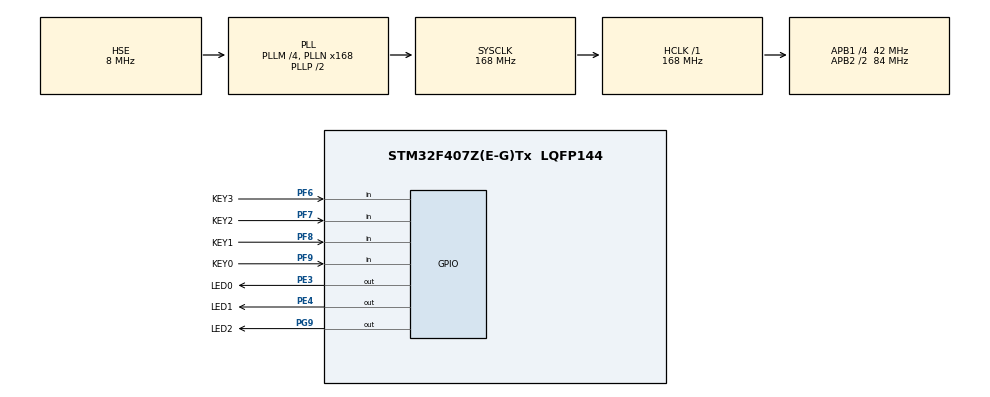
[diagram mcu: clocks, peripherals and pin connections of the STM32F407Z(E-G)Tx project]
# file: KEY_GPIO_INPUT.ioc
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Mcu.Family=STM32F4
Mcu.Name=STM32F407Z(E-G)Tx
Mcu.Package=LQFP144
NVIC.PriorityGroup=NVIC_PRIORITYGROUP_4
PA13.Mode=Serial_Wire
PA13.Signal=SYS_JTMS-SWDIO
PA14.Mode=Serial_Wire
PA14.Signal=SYS_JTCK-SWCLK
PC14-OSC32_IN.Mode=LSE-External-Oscillator
PC14-OSC32_IN.Signal=RCC_OSC32_IN
PC15-OSC32_OUT.Mode=LSE-External-Oscillator
PC15-OSC32_OUT.Signal=RCC_OSC32_OUT
PE3.GPIO_Label=LED0
PE3.GPIO_PuPd=GPIO_PULLUP
PE3.GPIO_Speed=GPIO_SPEED_FREQ_HIGH
PE3.Signal=GPIO_Output
PE4.GPIO_Label=LED1
PE4.GPIO_PuPd=GPIO_PULLUP
PE4.GPIO_Speed=GPIO_SPEED_FREQ_HIGH
PE4.Signal=GPIO_Output
PF6.GPIO_Label=KEY3
PF6.GPIO_PuPd=GPIO_PULLUP
PF6.Signal=GPIO_Input
PF7.GPIO_Label=KEY2
PF7.GPIO_PuPd=GPIO_PULLUP
PF7.Signal=GPIO_Input
PF8.GPIO_Label=KEY1
PF8.GPIO_PuPd=GPIO_PULLUP
PF8.Signal=GPIO_Input
PF9.GPIO_Label=KEY0
PF9.GPIO_PuPd=GPIO_PULLUP
PF9.Signal=GPIO_Input
PG9.GPIO_Label=LED2
PG9.GPIO_PuPd=GPIO_PULLUP
PG9.GPIO_Speed=GPIO_SPEED_FREQ_HIGH
PG9.Signal=GPIO_Output
PH0-OSC_IN.Mode=HSE-External-Oscillator
PH0-OSC_IN.Signal=RCC_OSC_IN
PH1-OSC_OUT.Mode=HSE-External-Oscillator
PH1-OSC_OUT.Signal=RCC_OSC_OUT
ProjectManager.HeapSize=0x200
ProjectManager.StackSize=0x400
ProjectManager.TargetToolchain=MDK-ARM V5
RCC.48MHZClocksFreq_Value=84000000
RCC.AHBFreq_Value=168000000
RCC.APB1CLKDivider=RCC_HCLK_DIV4
RCC.APB1Freq_Value=42000000
RCC.APB1TimFreq_Value=84000000
RCC.APB2CLKDivider=RCC_HCLK_DIV2
RCC.APB2Freq_Value=84000000
RCC.APB2TimFreq_Value=168000000
RCC.CortexFreq_Value=168000000
RCC.HCLKFreq_Value=168000000
RCC.HSE_VALUE=8000000
RCC.HSI_VALUE=16000000
RCC.PLLM=4
RCC.PLLN=168
RCC.PLLSourceVirtual=RCC_PLLSOURCE_HSE
RCC.SYSCLKFreq_VALUE=168000000
RCC.SYSCLKSource=RCC_SYSCLKSOURCE_PLLCLK
RCC.VCOOutputFreq_Value=336000000
board=custom

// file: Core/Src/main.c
/* USER CODE BEGIN Header */
/**
  ******************************************************************************
  * @file           : main.c
  * @brief          : Main program body
  ******************************************************************************
  * @attention
  *
  * Copyright (c) 2024 STMicroelectronics.
  * All rights reserved.
  *
  * This software is licensed under terms that can be found in the LICENSE file
  * in the root directory of this software component.
  * If no LICENSE file comes with this software, it is provided AS-IS.
  *
  ******************************************************************************
  */
/* USER CODE END Header */
#include "main.h"
#include "gpio.h"

void SystemClock_Config(void);

int main(void)
{

  /* MCU Configuration--------------------------------------------------------*/

  /* Reset of all peripherals, Initializes the Flash interface and the Systick. */
  HAL_Init();

  /* Configure the system clock */
  SystemClock_Config();

  /* Initialize all configured peripherals */
  MX_GPIO_Init();

  /* Infinite loop */
  while (1)
  {

    /* USER CODE BEGIN 3 */

    /*----------------------------KEY0每次按下翻转LED0的状态----------------------------*/
      if (HAL_GPIO_ReadPin(KEY0_GPIO_Port,KEY0_Pin) == GPIO_PIN_RESET)
      {
          HAL_Delay(20);  //软件消抖
          if (HAL_GPIO_ReadPin(KEY0_GPIO_Port,KEY0_Pin) == GPIO_PIN_RESET)
          {
              while (HAL_GPIO_ReadPin(KEY0_GPIO_Port,KEY0_Pin) == GPIO_PIN_RESET);  //抬手检测
              HAL_GPIO_TogglePin(LED0_GPIO_Port,LED0_Pin);
          }
      }
    /*------------------KEY1每次按下点亮LED1,KEY2每次按下熄灭LED1-------------------------*/
      if (HAL_GPIO_ReadPin(KEY1_GPIO_Port,KEY1_Pin) == GPIO_PIN_RESET)
      {
          HAL_Delay(20);
          if (HAL_GPIO_ReadPin(KEY1_GPIO_Port,KEY1_Pin) == GPIO_PIN_RESET)
          {
              while (HAL_GPIO_ReadPin(KEY1_GPIO_Port,KEY1_Pin) == GPIO_PIN_RESET);
              HAL_GPIO_WritePin(LED1_GPIO_Port,LED1_Pin,GPIO_PIN_RESET);
          }
      }
      if (HAL_GPIO_ReadPin(KEY2_GPIO_Port,KEY2_Pin) == GPIO_PIN_RESET)
      {
          HAL_Delay(20);
          if (HAL_GPIO_ReadPin(KEY2_GPIO_Port,KEY2_Pin) == GPIO_PIN_RESET)
          {
              while (HAL_GPIO_ReadPin(KEY2_GPIO_Port,KEY2_Pin) == GPIO_PIN_RESET);
              HAL_GPIO_WritePin(LED1_GPIO_Port,LED1_Pin,GPIO_PIN_SET);
          }
      }
      /*-----------------KEY3每次按下LED2闪烁一次-----------------*/
      if (HAL_GPIO_ReadPin(KEY3_GPIO_Port,KEY3_Pin) == GPIO_PIN_RESET)
      {
          HAL_Delay(20);
          if (HAL_GPIO_ReadPin(KEY3_GPIO_Port,KEY3_Pin) == GPIO_PIN_RESET)
          {
              while (HAL_GPIO_ReadPin(KEY3_GPIO_Port,KEY3_Pin) == GPIO_PIN_RESET);
              HAL_GPIO_WritePin(LED2_GPIO_Port,LED2_Pin,GPIO_PIN_SET);
              HAL_Delay(500);
              HAL_GPIO_WritePin(LED2_GPIO_Port,LED2_Pin,GPIO_PIN_RESET);
          }
      }

  }
  /* USER CODE END 3 */
}

void SystemClock_Config(void)
{
  RCC_OscInitTypeDef RCC_OscInitStruct = {0};
  RCC_ClkInitTypeDef RCC_ClkInitStruct = {0};

  /** Configure the main internal regulator output voltage
  */
  __HAL_RCC_PWR_CLK_ENABLE();
  __HAL_PWR_VOLTAGESCALING_CONFIG(PWR_REGULATOR_VOLTAGE_SCALE1);

  /** Initializes the RCC Oscillators according to the specified parameters
  * in the RCC_OscInitTypeDef structure.
  */
  RCC_OscInitStruct.OscillatorType = RCC_OSCILLATORTYPE_HSE;
  RCC_OscInitStruct.HSEState = RCC_HSE_ON;
  RCC_OscInitStruct.PLL.PLLState = RCC_PLL_ON;
  RCC_OscInitStruct.PLL.PLLSource = RCC_PLLSOURCE_HSE;
  RCC_OscInitStruct.PLL.PLLM = 4;
  RCC_OscInitStruct.PLL.PLLN = 168;
  RCC_OscInitStruct.PLL.PLLP = RCC_PLLP_DIV2;
  RCC_OscInitStruct.PLL.PLLQ = 4;
  if (HAL_RCC_OscConfig(&RCC_OscInitStruct) != HAL_OK)
  {
    Error_Handler();
  }

  /** Initializes the CPU, AHB and APB buses clocks
  */
  RCC_ClkInitStruct.ClockType = RCC_CLOCKTYPE_HCLK|RCC_CLOCKTYPE_SYSCLK
                              |RCC_CLOCKTYPE_PCLK1|RCC_CLOCKTYPE_PCLK2;
  RCC_ClkInitStruct.SYSCLKSource = RCC_SYSCLKSOURCE_PLLCLK;
  RCC_ClkInitStruct.AHBCLKDivider = RCC_SYSCLK_DIV1;
  RCC_ClkInitStruct.APB1CLKDivider = RCC_HCLK_DIV4;
  RCC_ClkInitStruct.APB2CLKDivider = RCC_HCLK_DIV2;

  if (HAL_RCC_ClockConfig(&RCC_ClkInitStruct, FLASH_LATENCY_5) != HAL_OK)
  {
    Error_Handler();
  }
}

void Error_Handler(void)
{
  __disable_irq();
  while (1)
  {
  }
}
